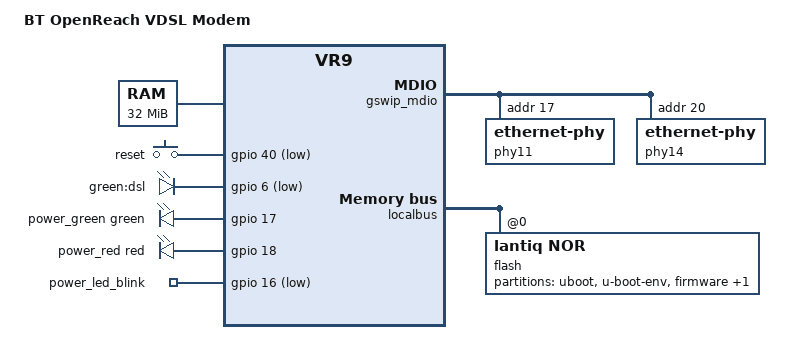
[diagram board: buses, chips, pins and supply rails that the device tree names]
#include "vr9.dtsi"

#include <dt-bindings/input/input.h>
#include <dt-bindings/leds/common.h>
#include <dt-bindings/mips/lantiq_rcu_gphy.h>

/ {
	compatible = "alphanetworks,asl56026", "lantiq,xway", "lantiq,vr9";
	model = "BT OpenReach VDSL Modem";

	chosen {
		bootargs = "console=ttyLTQ0,115200";
	};

	aliases {
		led-boot = &power_green;
		led-failsafe = &power_red;
		led-running = &power_green;
		led-upgrade = &power_green;

		led-dsl = &dsl;
	};

	memory@0 {
		device_type = "memory";
		reg = <0x0 0x2000000>;
	};

	keys {
		compatible = "gpio-keys-polled";
		poll-interval = <100>;

		reset {
			label = "reset";
			gpios = <&gpio 40 GPIO_ACTIVE_LOW>;
			linux,code = <KEY_RESTART>;
		};
	};

	leds {
		compatible = "gpio-leds";

		dsl: dsl {
			label = "green:dsl";
			gpios = <&gpio 6 GPIO_ACTIVE_LOW>;
		};

		/* power-* is a bicolour led */
		power_green: power_green {
			function = LED_FUNCTION_POWER;
			color = <LED_COLOR_ID_GREEN>;
			gpios = <&gpio 17 GPIO_ACTIVE_HIGH>;
			default-state = "keep";
		};

		power_red: power_red {
			function = LED_FUNCTION_POWER;
			color = <LED_COLOR_ID_RED>;
			gpios = <&gpio 18 GPIO_ACTIVE_HIGH>;
		};
	};

	gpio_export {
		compatible = "gpio-export";

		power_led_blink {
			gpio-export,name = "power_led_blink";
			gpio-export,output = <0>;
			gpios = <&gpio 16 GPIO_ACTIVE_LOW>;
		};
	};
};

&eth0 {
	nvmem-cells = <&macaddr_uboot_ethaddr 0>;
	nvmem-cell-names = "mac-address";
};

&gphy0 {
	lantiq,gphy-mode = <GPHY_MODE_FE>;
};

&gphy1 {
	lantiq,gphy-mode = <GPHY_MODE_FE>;
};

&gswip_mdio {
	phy11: ethernet-phy@11 {
		reg = <0x11>;
	};

	phy14: ethernet-phy@14 {
		reg = <0x14>;
	};
};

&gswip_ports {
	port@2 {
		reg = <2>;
		label = "lan1";
		phy-mode = "internal";
		phy-handle = <&phy11>;
	};

	port@3 {
		reg = <3>;
		label = "lan2";
		phy-mode = "internal";
		phy-handle = <&phy14>;
	};
};

&localbus {
	flash@0 {
		compatible = "lantiq,nor";
		bank-width = <2>;
		reg = <0 0x0 0x0800000>;

		partitions {
			compatible = "fixed-partitions";
			#address-cells = <1>;
			#size-cells = <1>;

			partition@0 {
				label = "uboot";
				reg = <0x0 0x30000>;
			};

			partition@30000 {
				label = "u-boot-env";
				reg = <0x30000 0x10000>;

				nvmem-layout {
					compatible = "u-boot,env";

					macaddr_uboot_ethaddr: ethaddr {
						#nvmem-cell-cells = <1>;
					};
				};
			};

			partition@40000 {
				label = "firmware";
				reg = <0x40000 0x750000>;
			};

			partition@790000 {
				label = "ddrconfig";
				reg = <0x790000 0x70000>;
				read-only;
			};
		};
	};
};
